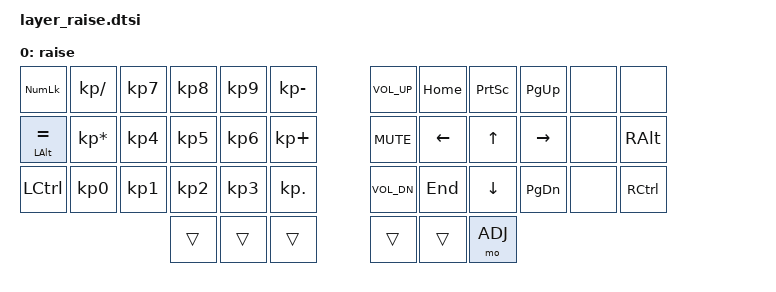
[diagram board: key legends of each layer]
/**
 * Raise Layer
 */

/ {
    keymap {
        compatible = "zmk,keymap";

        raise_layer {
            display-name = "raise";
            bindings = <
// ╭───────────────┬───────────────┬───────────────┬───────────────┬───────────────┬───────────────╮   ╭───────────────┬───────────────┬───────────────┬───────────────┬───────────────┬───────────────╮
// │0              │1              │2              │3              │4              │5              │   │6              │7              │8              │9              │10             │11             │
    &kp KP_NUM      &kp KP_SLASH    &kp KP_N7       &kp KP_N8       &kp KP_N9       &kp KP_MINUS        &kp C_VOL_UP    &kp HOME        &kp PSCRN       &kp PG_UP       &none           &none
// ├───────────────├───────────────┼───────────────┼───────────────┼───────────────┼───────────────┤   ├───────────────├───────────────┼───────────────┼───────────────┼───────────────┼───────────────┤
// │12             │13             │14             │15             │16             │17             │   │18             │19             │20             │21             │22             │23             │
    &mt LALT EQUAL  &kp KP_MULTIPLY &kp KP_N4       &kp KP_N5       &kp KP_N6       &kp KP_PLUS         &kp C_MUTE      &kp LEFT        &kp UP          &kp RIGHT       &none           &kp RALT
// ├───────────────├───────────────┼───────────────┼───────────────┼───────────────┼───────────────┤   ├───────────────├───────────────┼───────────────┼───────────────┼───────────────┼───────────────┤
// │24             │25             │26             │27             │28             │29             │   │30             │31             │32             │33             │34             │35             │
    &kp LCTRL       &kp KP_N0       &kp KP_N1       &kp KP_N2       &kp KP_N3       &kp KP_DOT          &kp C_VOL_DN    &kp END         &kp DOWN        &kp PG_DN       &none           &kp RCTRL
// ╰───────────────┴───────────────┴───────────────┼───────────────┼───────────────┼───────────────┤   ├───────────────├───────────────┼───────────────┼───────────────┴───────────────┴───────────────╯
//                                                 │36             │37             │38             │   │39             │40             │41             │
                                                    &trans          &trans          &trans              &trans          &trans          &mo ADJ
//                                                 ╰───────────────┴───────────────┴───────────────╯   ╰───────────────┴───────────────┴───────────────╯
            >;
        };
    };
};
